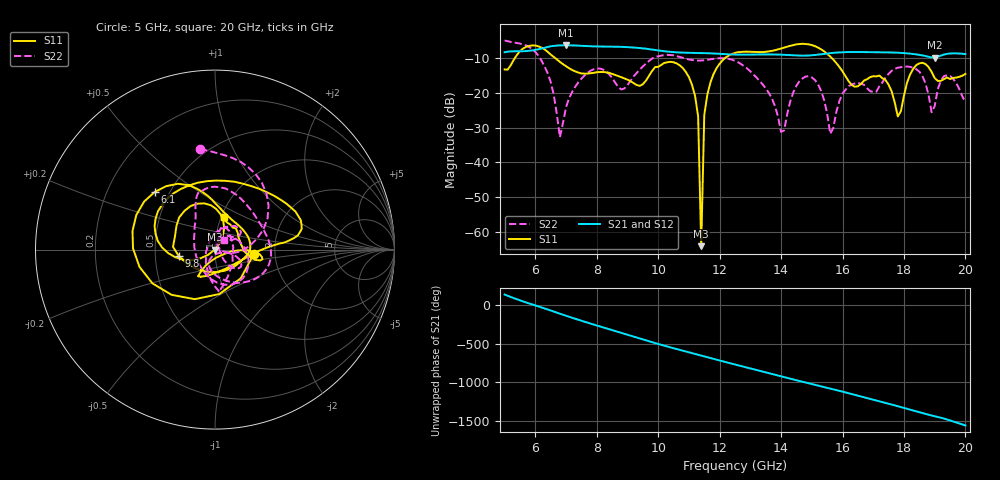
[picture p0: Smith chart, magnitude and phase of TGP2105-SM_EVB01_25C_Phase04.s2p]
! Date: Wednesday, June 05, 2013  1:49 PM
! Filename: C:\Data\Mike_Arnold\TGP2105-SM\Over_Temp\TGP2105-SM_EVB01_25C_Phase4.s2p
! Comments:
!^VDC(V):5.000
!^VDC(mA):0.083
!%Freq(GHz),S11(dB),S11(ang),S21(dB),S21(ang),S12(dB),S12(ang),S22(dB),S22(ang)
# GHz  S  DB  R  50
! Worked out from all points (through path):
!   151 points, 5 GHz to 20 GHz, reference 50 ohm
!   highest |S21| = -6.35 dB at 7 GHz (marker M1); lowest = -9.9 dB at 19 GHz (marker M2)
!   lowest |S11| = -64.1 dB at 11.4 GHz (marker M3), VSWR 1.00, Z = 50 + j0.0436 ohm
!   |S11| at or under -10 dB: start of sweep to 5.337 GHz; 6.642 GHz to 12.18 GHz (5.538 GHz wide, 58.8 % of centre); 15.65 GHz to end of sweep
!   |S22| runs from -32.8 to -5.0 dB; largest |S21 - S12| = 0.0021
!   S11 on the Smith chart (normalised r, x): 5 GHz: 1.54, -0.09; 6.1 GHz: 0.42, +0.34; 9.8 GHz: 0.66, -0.05; 20 GHz: 1.04, +0.39
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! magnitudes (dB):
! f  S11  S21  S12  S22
! 5 GHz  -13.3  -8.4  -8.4  -5.0
! 6.1 GHz  -6.7  -7.5  -7.5  -9.3
! 6.8 GHz  -11.1  -6.4  -6.4  -32.8
! 7 GHz  -12.4  -6.3  -6.4  -24.2
! 7.5 GHz  -14.4  -6.5  -6.5  -16.0
! 9.8 GHz  -13.7  -7.6  -7.6  -10.2
! 10 GHz  -12.6  -7.8  -7.9  -9.5
! 11.2 GHz  -20.9  -8.5  -8.5  -10.7
! 11.3 GHz  -26.8  -8.5  -8.6  -10.8
! 11.4 GHz  -64.1  -8.6  -8.6  -10.7
! 11.5 GHz  -26.4  -8.6  -8.6  -10.7
! 11.6 GHz  -20.5  -8.6  -8.6  -10.5
! 12.5 GHz  -8.6  -9.0  -9.0  -10.8
! 14 GHz  -7.3  -9.1  -9.1  -31.3
! 15 GHz  -6.3  -9.2  -9.2  -15.6
! 15.6 GHz  -9.6  -8.6  -8.6  -31.8
! 17.5 GHz  -17.7  -8.4  -8.4  -14.6
! 17.8 GHz  -26.8  -8.5  -8.5  -12.8
! 18.4 GHz  -12.1  -9.0  -9.0  -13.2
! 19 GHz  -15.7  -9.9  -9.9  -23.8
! 19.4 GHz  -15.6  -8.8  -8.9  -15.0
! 20 GHz  -14.6  -8.9  -8.9  -22.6
